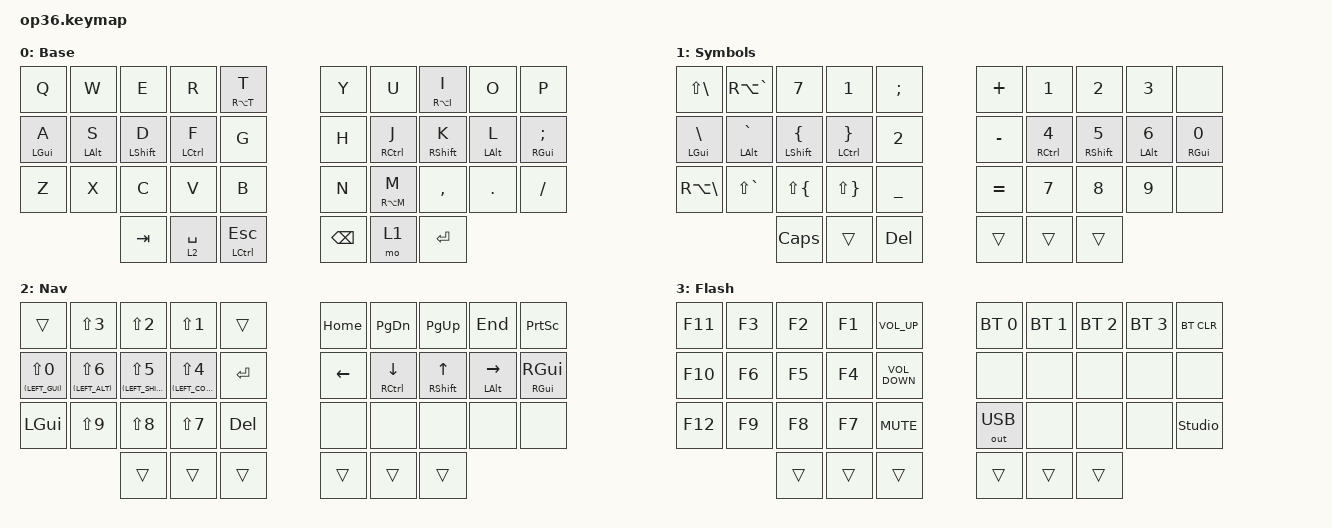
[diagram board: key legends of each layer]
#include "keys_ru.h"
#include <behaviors.dtsi>
#include <dt-bindings/zmk/bt.h>
#include <dt-bindings/zmk/keys.h>
#include <dt-bindings/zmk/outputs.h>

&mt {
    quick-tap-ms = <200>;
    flavor = "tap-preferred";
    require-prior-idle-ms = <125>;
};

/ {
    behaviors {
        hml: home_row_mod_left {
            compatible = "zmk,behavior-hold-tap";
            #binding-cells = <2>;
            flavor = "balanced";
            require-prior-idle-ms = <150>;
            tapping-term-ms = <280>;
            quick-tap-ms = <175>;
            bindings = <&kp>, <&kp>;

            hold-trigger-key-positions = <5 6 7 8 9 15 16 17 18 19 25 26 27 28 29 33 34 35>;
            hold-trigger-on-release;
        };

        hmr: home_row_mod_right {
            compatible = "zmk,behavior-hold-tap";
            #binding-cells = <2>;
            flavor = "balanced";
            require-prior-idle-ms = <150>;
            tapping-term-ms = <280>;
            quick-tap-ms = <175>;
            bindings = <&kp>, <&kp>;

            hold-trigger-key-positions = <0 1 2 3 4 10 11 12 13 14 20 21 22 23 24 30 31 32>;
            hold-trigger-on-release;
        };
    };

    combos {
        compatible = "zmk,combos";

        left_par {
            bindings = <&kp N9>;
            key-positions = <14 13>;
        };

        right_par {
            bindings = <&kp NUMBER_0>;
            key-positions = <15 16>;
        };

        left_brace {
            bindings = <&kp LS(GREATER_THAN)>;
            key-positions = <24 23>;
        };

        right_brace {
            bindings = <&kp LS(SLASH)>;
            key-positions = <25 26>;
        };

        less {
            bindings = <&kp RA(O)>;
            key-positions = <3 2>;
        };

        more {
            bindings = <&kp RA(P)>;
            key-positions = <6 7>;
        };

        left_round_par {
            bindings = <&kp DOT>;
            key-positions = <22 23>;
        };

        right_round_par {
            bindings = <&kp SLASH>;
            key-positions = <26 27>;
        };
    };

    keymap {
        compatible = "zmk,keymap";

        base {
            bindings = <
  &kp Q        &kp W        &kp E         &kp R         &hml RA(T) T                                          &kp Y  &kp U         &hmr RA(I) I  &kp O        &kp P
  &hml LGUI A  &hml LALT S  &hml LSHFT D  &hml LCTRL F  &kp G                                                 &kp H  &hmr RCTRL J  &hmr RSHFT K  &hmr LALT L  &hmr RGUI SEMICOLON
  &kp Z        &kp X        &kp C         &kp V         &kp B                                                 &kp N  &hmr RA(M) M  &kp COMMA     &kp DOT      &kp SLASH
                                          &kp TAB       &lt 2 SPACE   &hml LEFT_CONTROL ESC    &kp BACKSPACE  &mo 1  &kp ENTER
            >;

            display-name = "Base";
        };

        sym {
            bindings = <
  &kp LS(BACKSLASH)  &kp RA(GRAVE)    &kp N7                 &kp NUMBER_1            &kp SEMI                              &kp PLUS   &kp NUMBER_1         &kp NUMBER_2         &kp NUMBER_3        &none
  &hml LGUI BSLH     &hml LALT GRAVE  &hml LSHFT LEFT_BRACE  &hml LCTRL RIGHT_BRACE  &kp NUMBER_2                          &kp MINUS  &hmr RCTRL NUMBER_4  &hmr RSHFT NUMBER_5  &hmr LALT NUMBER_6  &hmr RGUI N0
  &kp RA(BACKSLASH)  &kp LS(GRAVE)    &kp LS(LEFT_BRACE)     &kp LS(RIGHT_BRACE)     &kp UNDERSCORE                        &kp EQUAL  &kp NUMBER_7         &kp N8               &kp N9              &none
                                                             &kp CAPSLOCK            &trans          &kp DELETE    &trans  &trans     &trans
            >;

            display-name = "Symbols";
        };

        nav {
            bindings = <
  &trans                  &kp LS(NUMBER_3)        &kp LS(NUMBER_2)                &kp LS(N1)                        &trans                        &kp HOME        &kp PAGE_DOWN          &kp PAGE_UP          &kp END                &kp PRINTSCREEN
  &hml (LEFT_GUI) LS(N0)  &hml (LEFT_ALT) LS(N6)  &hml (LEFT_SHIFT) LS(NUMBER_5)  &hml (LEFT_CONTROL) LS(NUMBER_4)  &kp ENTER                     &kp LEFT_ARROW  &hmr RCTRL DOWN_ARROW  &hmr RSHFT UP_ARROW  &hmr LALT RIGHT_ARROW  &hmr RIGHT_GUI RIGHT_GUI
  &kp LEFT_GUI            &kp LS(N9)              &kp LS(N8)                      &kp LS(N7)                        &kp DELETE                    &none           &none                  &none                &none                  &none
                                                                                  &trans                            &trans      &trans    &trans  &trans          &trans
            >;

            display-name = "Nav";
        };

        Flash {
            bindings = <
  &kp F11  &kp F3  &kp F2  &kp F1  &kp C_VOLUME_UP                      &bt BT_SEL 0  &bt BT_SEL 1  &bt BT_SEL 2  &bt BT_SEL 3  &bt BT_CLR
  &kp F10  &kp F6  &kp F5  &kp F4  &kp C_VOLUME_DOWN                    &none         &none         &none         &none         &none
  &kp F12  &kp F9  &kp F8  &kp F7  &kp K_MUTE                           &out OUT_USB  &none         &none         &none         &studio_unlock
                           &trans  &trans             &trans    &trans  &trans        &trans
            >;

            display-name = "Flash";
        };
    };

    conditional_layers {
        compatible = "zmk,conditional-layers";

        Flash {
            if-layers = <1 2>;
            then-layer = <3>;
        };
    };
};
